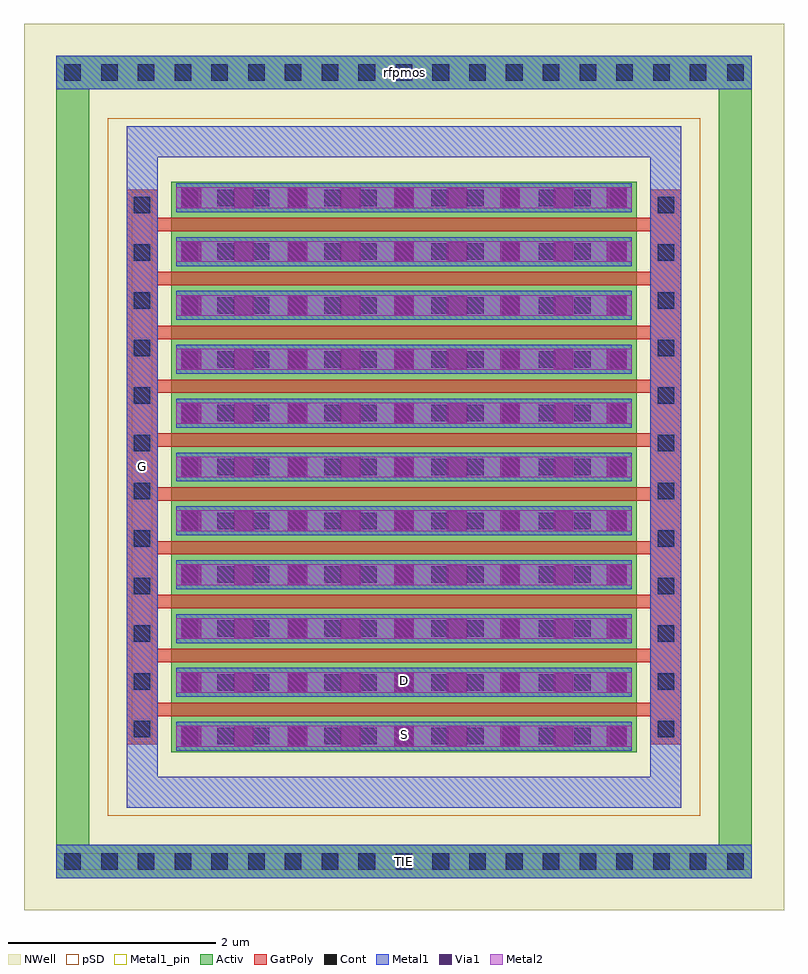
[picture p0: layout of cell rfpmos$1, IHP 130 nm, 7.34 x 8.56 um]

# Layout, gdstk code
import gdstk
lib = gdstk.Library(unit=1e-6, precision=5e-09)
def R(c, l, rs):  # rectangles x0, y0, x1, y1
    for r in rs: c.add(gdstk.rectangle(r[:2], r[2:], *l))
def A(c, l, x, y, w, h, nx, ny, dx, dy):  # array of equal rectangles
    R(c, l, [(x+i*dx, y+j*dy, x+i*dx+w, y+j*dy+h) for i in range(nx) for j in range(ny)])
def P(c, l, *ps):  # polygons
    for p in ps: c.add(gdstk.Polygon(p, *l))
Activ = (1, 0)
GatPoly = (5, 0)
Cont = (6, 0)
Metal1 = (8, 0)
Metal1_pin = (8, 2)
Metal2 = (10, 0)
pSD = (14, 0)
Via1 = (19, 0)
NWell = (31, 0)

rfpmos_1 = lib.new_cell('rfpmos$1')
R(rfpmos_1, Activ, [(1.42,1.525,5.92,7.035)])
P(rfpmos_1, Activ, [(0.31,0.31),(0.31,7.93),(0.63,7.93),(0.63,0.63),(6.71,0.63),(6.71,7.93),(0.31,7.93),(0.31,8.25),(7.03,8.25),(7.03,0.31)])
A(rfpmos_1, GatPoly, 1.29, 1.875, 4.76, 0.13, 1, 10, 0, 0.52)
R(rfpmos_1, GatPoly, [(0.99,1.6,1.29,6.96), (6.05,1.6,6.35,6.96)])
A(rfpmos_1, Cont, 0.39, 0.39, 0.16, 0.16, 9, 2, 0.355, 7.62)
A(rfpmos_1, Cont, 3.59, 0.39, 0.16, 0.16, 9, 2, 0.355, 7.62)
A(rfpmos_1, Cont, 1.52, 1.6, 0.16, 0.16, 13, 11, 0.345, 0.52)
A(rfpmos_1, Cont, 1.06, 1.67, 0.16, 0.16, 1, 12, 0, 0.46)
A(rfpmos_1, Cont, 6.12, 1.67, 0.16, 0.16, 1, 12, 0, 0.46)
R(rfpmos_1, Cont, [(6.79,0.39,6.95,0.55), (6.79,8.01,6.95,8.17)])
A(rfpmos_1, Metal1, 1.47, 1.54, 4.4, 0.28, 1, 11, 0, 0.52)
R(rfpmos_1, Metal1, [(0.31,0.31,7.03,0.63), (1.04,1.62,1.24,6.94), (6.1,1.62,6.3,6.94), (0.31,7.93,7.03,8.25)])
P(rfpmos_1, Metal1, [(0.99,0.99),(0.99,7.27),(1.29,7.27),(1.29,1.29),(6.05,1.29),(6.05,7.27),(0.99,7.27),(0.99,7.57),(6.35,7.57),(6.35,0.99)])
R(rfpmos_1, Metal1_pin, [(0.31,0.39,7.03,0.55), (0.31,0.39,7.03,0.55), (1.47,1.54,5.87,1.82), (1.47,1.54,5.87,1.82), (1.04,1.62,1.24,6.94), (1.04,1.62,1.24,6.94), (1.47,2.06,5.87,2.34), (1.47,2.06,5.87,2.34)])
A(rfpmos_1, Metal2, 1.47, 1.58, 4.4, 0.2, 1, 11, 0, 0.52)
R(rfpmos_1, pSD, [(0.81,0.91,6.53,7.65)])
A(rfpmos_1, Via1, 1.52, 1.585, 0.19, 0.19, 1, 11, 0, 0.52)
A(rfpmos_1, Via1, 2.03, 1.585, 0.19, 0.19, 4, 11, 0.515, 0.52)
A(rfpmos_1, Via1, 4.085, 1.585, 0.19, 0.19, 4, 11, 0.515, 0.52)
R(rfpmos_1, NWell, [(0,0,7.34,8.56)])
rfpmos_1.add(gdstk.Label('S', (3.67,1.7), layer=63, texttype=0))
rfpmos_1.add(gdstk.Label('D', (3.67,2.22), layer=63, texttype=0))
rfpmos_1.add(gdstk.Label('G', (1.14,4.28), layer=63, texttype=0))
rfpmos_1.add(gdstk.Label('TIE', (3.67,0.47), layer=63, texttype=0))
rfpmos_1.add(gdstk.Label('rfpmos', (3.67,8.09), layer=63, texttype=0))

lib.write_gds('rfpmos_1.gds')
